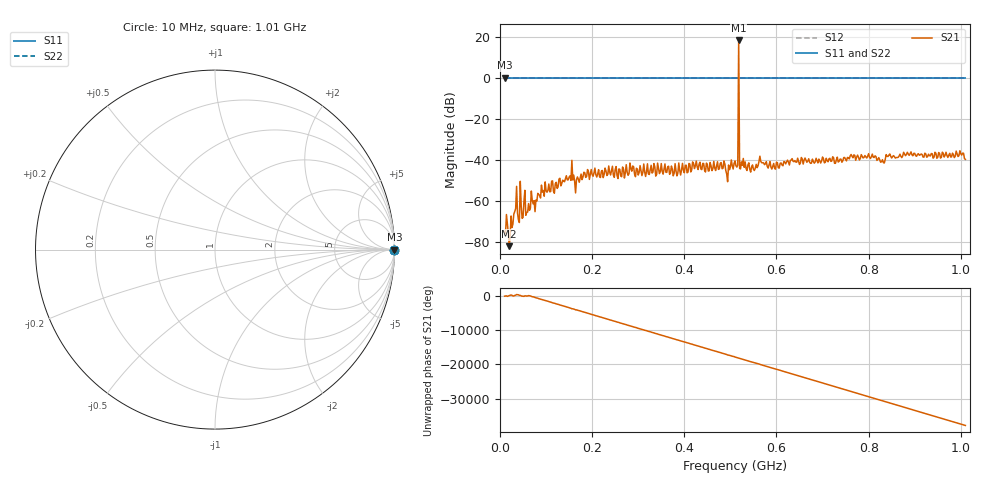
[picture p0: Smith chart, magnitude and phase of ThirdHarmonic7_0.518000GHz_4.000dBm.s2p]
! 8/17/2025 3:11:55 PM
! C:\ANRITSUVNA\TEMP\TEMP.S2P
! CHANNEL.1
! TR.MEASUREMENT
! RAW.DATA
! RF.CORRECTION.OFF
! AVERAGING.OFF
! IF.BANDWIDTH: 5KHZ
! SWEEPTYPE:  FREQ.SWEEP(Linear)
! Reference Plane Port Info
! PORT:  PORT1  PORT2
! DISTANCE:  0  m  0  m
! TIME:  0  s  0  s
! PHASE.OFFSET:  0  deg.  0  deg.
! LOSS:  0  dB  0  dB
! REF.LOSS:  0  dB  0  dB
! REF.FREQ:  0  Hz  0  Hz
! Power Info
! POWER:  -20  dBm  -20  dBm
! EFF.POWER:  -20  dBm  -20  dBm
! SOURCE.ATTEN:  0  dB  0  dB
! TEST.ATTEN:  0  dB  0  dB
# GHZ S RI R 50.0
! FREQ.GHZ  S11RE  S11IM  S21RE  S21IM  S12RE  S12IM  S22RE  S22IM
!; PortSelection: Port_12
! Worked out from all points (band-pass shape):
!   501 points, 10 MHz to 1.01 GHz, reference 50 ohm
!   highest |S21| = 18.16 dB at 518 MHz (marker M1); lowest = -82.0 dB at 20 MHz (marker M2)
!   |S21| within 3 dB of the highest: 517.9011 MHz to 518.0963 MHz (195.2 kHz wide, 0.0377 % of centre)
!   lowest |S11| = 0.0 dB at 10 MHz (marker M3)
!   |S11| at or under -10 dB: nowhere
!   |S22| runs from 0.0 to 0.0 dB; largest |S21 - S12| = 8.6
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0.01  1 0  0.00016 6.81e-05  1 0  1 0
0.02  1 0  -7.96e-05 -1e-06  1 0  1 0
0.024  1 0  0.000427 6.11e-05  1 0  1 0
0.032  1 0  -0.000304 -0.000462  1 0  1 0
0.04  1 0  0.000206 0.00028  1 0  1 0
0.06  1 0  0.000159 0.000514  1 0  1 0
0.094  1 0  0.00163 -0.000772  1 0  1 0
0.178  1 0  -0.00329 -0.000445  1 0  1 0
0.344  1 0  0.00549 -0.00305  1 0  1 0
0.482  1 0  -0.00503 -0.00346  1 0  1 0
0.494  1 0  0.00253 0.00151  1 0  1 0
0.51  1 0  -0.00935 0.00172  1 0  1 0
0.512  1 0  -0.000572 0.00723  1 0  1 0
0.514  1 0  0.00628 0.0023  1 0  1 0
0.518  1 0  -3.916 -7.076  1 0  1 0
0.522  1 0  0.00321 0.00513  1 0  1 0
0.524  1 0  0.00783 -0.00437  1 0  1 0
0.678  1 0  0.00167 -0.0103  1 0  1 0
0.766  1 0  0.0109 -0.00303  1 0  1 0
0.83  1 0  0.00298 -0.00968  1 0  1 0
0.844  1 0  -0.00102 0.0131  1 0  1 0
1.01  1 0  -0.00263 -0.00999  1 0  1 0
